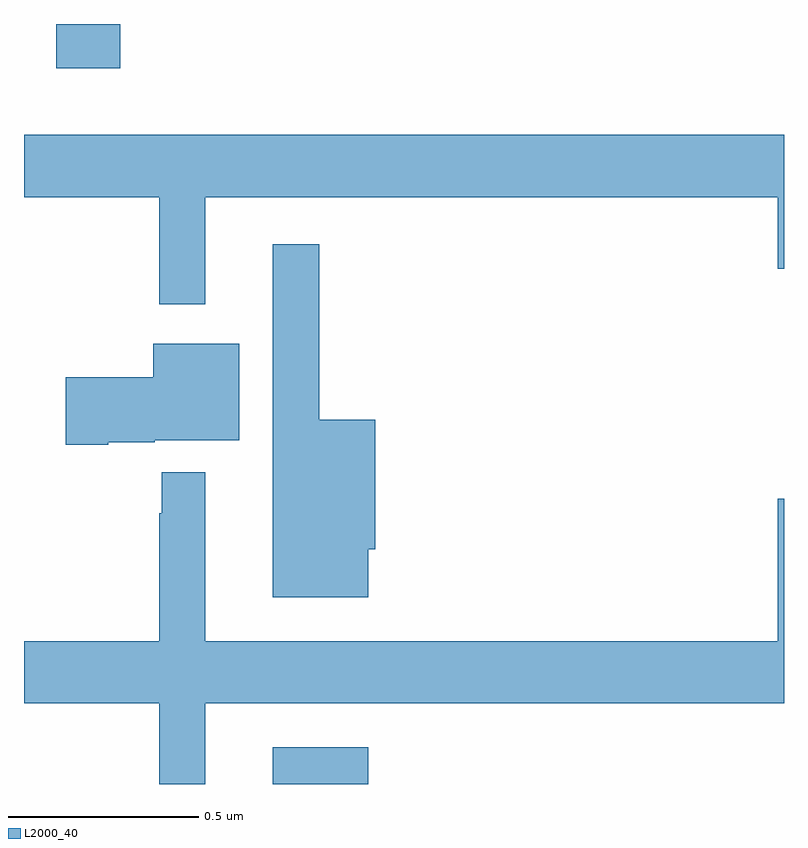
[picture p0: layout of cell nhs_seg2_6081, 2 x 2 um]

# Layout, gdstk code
import gdstk
lib = gdstk.Library(unit=1e-6, precision=1e-09)
def R(c, l, rs):  # rectangles x0, y0, x1, y1
    for r in rs: c.add(gdstk.rectangle(r[:2], r[2:], *l))
def P(c, l, *ps):  # polygons
    for p in ps: c.add(gdstk.Polygon(p, *l))
L2000_40 = (2000, 40)

nhs_seg2_6081 = lib.new_cell('nhs_seg2_6081')
R(nhs_seg2_6081, L2000_40, [(187.655,604.8,187.906,604.897), (187.085,606.684,187.253,606.8)])
P(nhs_seg2_6081, L2000_40, [(187.477,606.344),(188.984,606.344),(188.984,606.156),(189,606.156),(189,606.508),(187,606.508),(187,606.344),(187.356,606.344),(187.356,606.063),(187.477,606.063)],
  [(187.906,605.418),(187.924,605.418),(187.924,605.758),(187.777,605.758),(187.777,606.22),(187.655,606.22),(187.655,605.291),(187.906,605.291)],
  [(187.222,605.699),(187.344,605.699),(187.344,605.705),(187.567,605.705),(187.567,605.959),(187.34,605.959),(187.34,605.871),(187.11,605.871),(187.11,605.693),(187.222,605.693)],
  [(187.477,605.012),(189,605.012),(189,605.551),(188.984,605.551),(188.984,605.176),(187.477,605.176),(187.477,605.62),(187.363,605.62),(187.363,605.513),(187.356,605.513),(187.356,605.176),(187,605.176),(187,605.012),(187.356,605.012),(187.356,604.8),(187.477,604.8)])

lib.write_gds('nhs_seg2_6081.gds')
